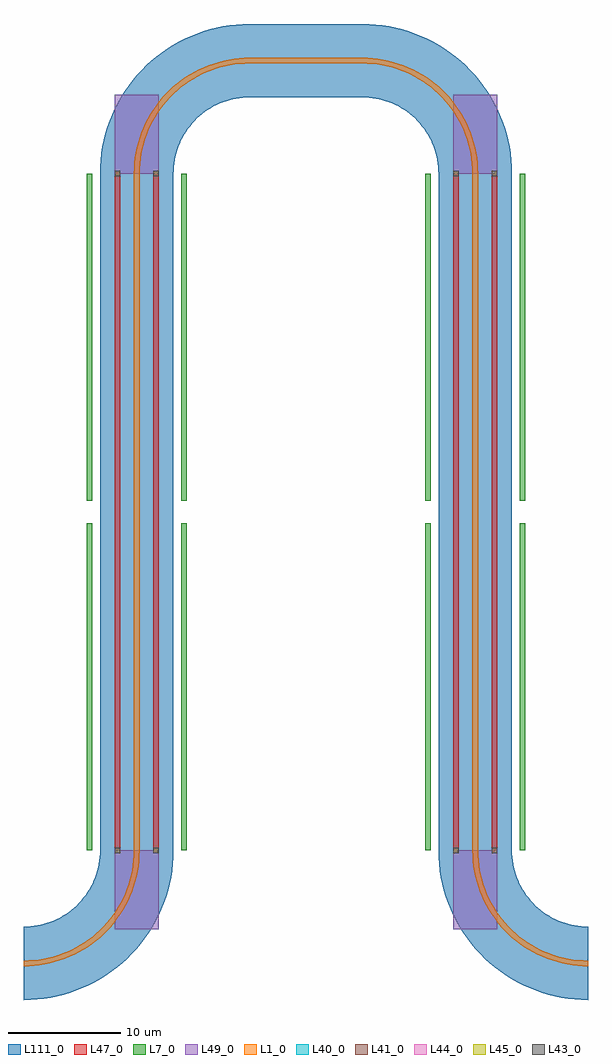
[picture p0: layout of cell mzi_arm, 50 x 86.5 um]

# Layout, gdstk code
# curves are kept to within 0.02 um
import gdstk
lib = gdstk.Library(unit=1e-6, precision=1e-09)
def R(c, l, rs):  # rectangles x0, y0, x1, y1
    for r in rs: c.add(gdstk.rectangle(r[:2], r[2:], *l))
def P(c, l, *ps):  # polygons
    for p in ps: c.add(gdstk.Polygon(p, *l))
L1_0 = (1, 0)
L7_0 = (7, 0)
L40_0 = (40, 0)
L41_0 = (41, 0)
L43_0 = (43, 0)
L44_0 = (44, 0)
L45_0 = (45, 0)
L47_0 = (47, 0)
L49_0 = (49, 0)
L111_0 = (111, 0)

mzi_arm = lib.new_cell('mzi_arm')
R(mzi_arm, L1_0, [(9.75,10,10.25,70), (39.75,10,40.25,70), (20,79.75,30,80.25)])
P(mzi_arm, L1_0, [(9.75,10),(9.711,9.126),(9.593,8.259),(9.399,7.406),(9.128,6.574),(8.784,5.77),(8.37,4.999),(7.623,3.921),(7.047,3.262),(6.415,2.658),(5.731,2.112),(5.001,1.63),(4.23,1.216),(3.013,0.727),(2.17,0.494),(0.874,0.289),(0,0.25),(0,-0.25),(0.919,-0.209),(1.376,-0.157),(2.281,0.007),(3.167,0.252),(4.029,0.575),(4.857,0.974),(5.647,1.446),(6.391,1.986),(7.083,2.591),(7.409,2.917),(8.014,3.609),(8.554,4.353),(8.799,4.743),(9.026,5.143),(9.425,5.971),(9.748,6.833),(9.993,7.719),(10.157,8.624),(10.209,9.081),(10.25,10)],
  [(10.25,70),(10.289,70.874),(10.407,71.741),(10.601,72.594),(10.872,73.426),(11.216,74.23),(11.63,75.001),(12.377,76.079),(12.953,76.738),(13.585,77.342),(14.269,77.888),(14.999,78.37),(15.77,78.784),(16.987,79.273),(17.83,79.506),(19.126,79.711),(20,79.75),(20,80.25),(19.081,80.209),(18.624,80.157),(17.719,79.993),(16.833,79.748),(15.971,79.425),(15.143,79.026),(14.353,78.554),(13.609,78.014),(12.917,77.409),(12.591,77.083),(11.986,76.391),(11.446,75.647),(11.201,75.257),(10.974,74.857),(10.575,74.029),(10.252,73.167),(10.007,72.281),(9.843,71.376),(9.791,70.919),(9.75,70)],
  [(30,79.75),(30.874,79.711),(31.741,79.593),(32.594,79.399),(33.426,79.128),(34.23,78.784),(35.001,78.37),(36.079,77.623),(36.738,77.047),(37.342,76.415),(37.888,75.731),(38.37,75.001),(38.784,74.23),(39.273,73.013),(39.506,72.17),(39.711,70.874),(39.75,70),(40.25,70),(40.209,70.919),(40.157,71.376),(39.993,72.281),(39.748,73.167),(39.425,74.029),(39.026,74.857),(38.554,75.647),(38.014,76.391),(37.409,77.083),(37.083,77.409),(36.391,78.014),(35.647,78.554),(35.257,78.799),(34.857,79.026),(34.029,79.425),(33.167,79.748),(32.281,79.993),(31.376,80.157),(30.919,80.209),(30,80.25)],
  [(50,0.25),(49.126,0.289),(48.259,0.407),(47.406,0.601),(46.574,0.872),(45.77,1.216),(44.999,1.63),(43.921,2.377),(43.262,2.953),(42.658,3.585),(42.112,4.269),(41.63,4.999),(41.216,5.77),(40.727,6.987),(40.494,7.83),(40.289,9.126),(40.25,10),(39.75,10),(39.791,9.081),(39.843,8.624),(40.007,7.719),(40.252,6.833),(40.575,5.971),(40.974,5.143),(41.446,4.353),(41.986,3.609),(42.591,2.917),(42.917,2.591),(43.609,1.986),(44.353,1.446),(44.743,1.201),(45.143,0.974),(45.971,0.575),(46.833,0.252),(47.719,0.007),(48.624,-0.157),(49.081,-0.209),(50,-0.25)])
R(mzi_arm, L7_0, [(5.55,10,6.05,39), (13.95,10,14.45,39), (35.55,10,36.05,39), (43.95,10,44.45,39), (5.55,41,6.05,70), (13.95,41,14.45,70), (35.55,41,36.05,70), (43.95,41,44.45,70)])
R(mzi_arm, L40_0, [(8.05,9.75,8.55,10.25), (11.45,9.75,11.95,10.25), (38.05,9.75,38.55,10.25), (41.45,9.75,41.95,10.25), (8.05,69.75,8.55,70.25), (11.45,69.75,11.95,70.25), (38.05,69.75,38.55,70.25), (41.45,69.75,41.95,70.25)])
R(mzi_arm, L41_0, [(8.05,9.75,8.55,10.25), (11.45,9.75,11.95,10.25), (38.05,9.75,38.55,10.25), (41.45,9.75,41.95,10.25), (8.05,69.75,8.55,70.25), (11.45,69.75,11.95,70.25), (38.05,69.75,38.55,70.25), (41.45,69.75,41.95,70.25)])
R(mzi_arm, L43_0, [(8.05,9.75,8.55,10.25), (11.45,9.75,11.95,10.25), (38.05,9.75,38.55,10.25), (41.45,9.75,41.95,10.25), (8.05,69.75,8.55,70.25), (11.45,69.75,11.95,70.25), (38.05,69.75,38.55,70.25), (41.45,69.75,41.95,70.25)])
R(mzi_arm, L44_0, [(8.05,9.75,8.55,10.25), (11.45,9.75,11.95,10.25), (38.05,9.75,38.55,10.25), (41.45,9.75,41.95,10.25), (8.05,69.75,8.55,70.25), (11.45,69.75,11.95,70.25), (38.05,69.75,38.55,70.25), (41.45,69.75,41.95,70.25)])
R(mzi_arm, L45_0, [(8.05,9.75,8.55,10.25), (11.45,9.75,11.95,10.25), (38.05,9.75,38.55,10.25), (41.45,9.75,41.95,10.25), (8.05,69.75,8.55,70.25), (11.45,69.75,11.95,70.25), (38.05,69.75,38.55,70.25), (41.45,69.75,41.95,70.25)])
R(mzi_arm, L47_0, [(8.05,10,8.55,70), (11.45,10,11.95,70), (38.05,10,38.55,70), (41.45,10,41.95,70)])
R(mzi_arm, L49_0, [(8.05,3,11.95,10), (38.05,3,41.95,10), (8.05,9.75,8.55,10.25), (11.45,9.75,11.95,10.25), (38.05,9.75,38.55,10.25), (41.45,9.75,41.95,10.25), (8.05,69.75,8.55,70.25), (11.45,69.75,11.95,70.25), (38.05,69.75,38.55,70.25), (41.45,69.75,41.95,70.25), (8.05,70,11.95,77), (38.05,70,41.95,77)])
R(mzi_arm, L111_0, [(6.75,10,13.25,70), (36.75,10,43.25,70), (20,76.75,30,83.25)])
P(mzi_arm, L111_0, [(6.75,10),(6.723,9.395),(6.642,8.795),(6.507,8.204),(6.32,7.628),(6.082,7.071),(5.795,6.538),(5.461,6.032),(4.879,5.335),(4.441,4.917),(3.968,4.539),(3.462,4.205),(2.653,3.793),(2.086,3.58),(1.205,3.358),(0.605,3.277),(0,3.25),(0,-3.25),(1.188,-3.197),(1.779,-3.13),(2.366,-3.037),(3.525,-2.773),(4.656,-2.405),(5.208,-2.184),(6.279,-1.668),(6.796,-1.374),(7.299,-1.058),(8.261,-0.359),(8.718,0.022),(9.577,0.843),(9.978,1.282),(10.719,2.212),(11.058,2.701),(11.668,3.721),(12.184,4.792),(12.405,5.344),(12.773,6.475),(12.918,7.052),(13.13,8.221),(13.197,8.812),(13.25,10)],
  [(13.25,70),(13.277,70.605),(13.358,71.205),(13.493,71.796),(13.68,72.372),(13.918,72.929),(14.205,73.462),(14.539,73.968),(15.121,74.665),(15.559,75.083),(16.032,75.461),(16.538,75.795),(17.347,76.207),(17.914,76.42),(18.795,76.642),(19.395,76.723),(20,76.75),(20,83.25),(18.812,83.197),(18.221,83.13),(17.634,83.037),(16.475,82.773),(15.344,82.405),(14.792,82.184),(13.721,81.668),(13.204,81.374),(12.701,81.058),(11.739,80.359),(11.282,79.978),(10.423,79.157),(10.022,78.718),(9.281,77.788),(8.942,77.299),(8.332,76.279),(7.816,75.208),(7.595,74.656),(7.227,73.525),(7.082,72.948),(6.87,71.779),(6.803,71.188),(6.75,70)],
  [(30,76.75),(30.605,76.723),(31.205,76.642),(31.796,76.507),(32.372,76.32),(32.929,76.082),(33.462,75.795),(33.968,75.461),(34.665,74.879),(35.083,74.441),(35.461,73.968),(35.795,73.462),(36.207,72.653),(36.42,72.086),(36.642,71.205),(36.723,70.605),(36.75,70),(43.25,70),(43.197,71.188),(43.13,71.779),(43.037,72.366),(42.773,73.525),(42.405,74.656),(42.184,75.208),(41.668,76.279),(41.374,76.796),(41.058,77.299),(40.359,78.261),(39.978,78.718),(39.157,79.577),(38.718,79.978),(37.788,80.719),(37.299,81.058),(36.279,81.668),(35.208,82.184),(34.656,82.405),(33.525,82.773),(32.948,82.918),(31.779,83.13),(31.188,83.197),(30,83.25)],
  [(50,3.25),(49.395,3.277),(48.795,3.358),(48.204,3.493),(47.628,3.68),(47.071,3.918),(46.538,4.205),(46.032,4.539),(45.335,5.121),(44.917,5.559),(44.539,6.032),(44.205,6.538),(43.793,7.347),(43.58,7.914),(43.358,8.795),(43.277,9.395),(43.25,10),(36.75,10),(36.803,8.812),(36.87,8.221),(36.963,7.634),(37.227,6.475),(37.595,5.344),(37.816,4.792),(38.332,3.721),(38.626,3.204),(38.942,2.701),(39.641,1.739),(40.022,1.282),(40.843,0.423),(41.282,0.022),(42.212,-0.719),(42.701,-1.058),(43.721,-1.668),(44.792,-2.184),(45.344,-2.405),(46.475,-2.773),(47.052,-2.918),(48.221,-3.13),(48.812,-3.197),(50,-3.25)])

lib.write_gds('mzi_arm.gds')
